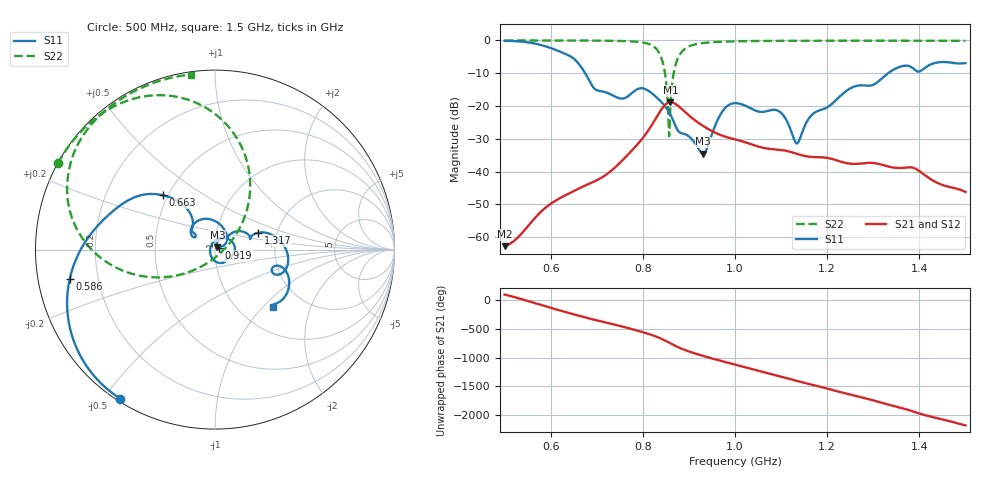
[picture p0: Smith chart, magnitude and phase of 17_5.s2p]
! TOUCHSTONE file generated by CST MICROWAVE STUDIO
! Date and time: Mon Oct 26 12:26:55 2020
! Project name: Scenario_1_Circular_Tissue_out_of_Line.cst
! Parameters = {dy1=-68.544; L_HA=400; MT=2.54; Rad_Dielectric=30; Rad_Lower=7.3; Rad_Upper=30; a_HA=580; a_WG=246; b_HA=500; b_WG=121; c_HA=0; c_WG=187; d_feed=85; dx1=866; h_feed=15; h_lower=18; h_upper=40}
! Header version: 2018
! Port assignment regex: !\s*Touchstone port\s*([0-9]+)\s*=\s*(CST MWS port|CST DS port)\s*([0-9]+|Zmin|Zmax)\s*\(\"(.*)\"\)(\s*mode\s*([0-9]+))?.*
! Touchstone port assignment:
! Touchstone port 1 = CST MWS port 1 ("")
! Touchstone port 2 = CST MWS port 2 ("")
# GHz S DB R 50
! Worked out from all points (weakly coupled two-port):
!   1001 points, 500 MHz to 1.5 GHz, reference 50 ohm
!   highest |S21| = -18.83 dB at 860 MHz (marker M1); lowest = -62.7 dB at 500 MHz (marker M2)
!   lowest |S11| = -34.5 dB at 931 MHz (marker M3), VSWR 1.04, Z = 51.3 + j1.35 ohm
!   |S11| at or under -10 dB: 674.9 MHz to 1.332 GHz (657.2 MHz wide, 65.5 % of centre)
!   |S22| runs from -29.2 to 0.0 dB; largest |S21 - S12| = 2.7e-06
!   S11 on the Smith chart (normalised r, x): 500 MHz: 0.01, -0.55; 586 MHz: 0.10, -0.10; 663 MHz: 0.47, +0.34; 919 MHz: 1.04, +0.02; 1.317 GHz: 1.59, +0.32; 1.5 GHz: 1.42, -1.13
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0.5  -0.14 -122.4  -62.71 99.3  -62.70 99.3  -0.01 151.1
0.586  -1.67 -168.7  -51.30 -98.4  -51.30 -98.4  -0.02 145.2
0.663  -7.52 133.9  -45.01 86.4  -45.01 86.4  -0.04 138.8
0.667  -8.28 130.9  -44.74 77.8  -44.74 77.8  -0.04 138.4
0.7  -15.17 136.5  -42.63 9.6  -42.63 9.6  -0.07 134.8
0.78  -15.59 144.5  -32.97 -150.6  -32.97 -150.6  -0.34 120.3
0.834  -17.91 68.2  -22.38 71.3  -22.38 71.3  -3.48 82.1
0.846  -19.67 51.9  -19.96 26.3  -19.96 26.3  -8.39 59.1
0.855  -21.38 39.2  -18.97 -11.6  -18.97 -11.6  -21.70 21.0
0.86  -22.62 32.6  -18.83 -33.0  -18.83 -33.0  -19.54 -125.4
0.867  -24.78 26.0  -19.07 -61.8  -19.07 -61.8  -9.90 -151.3
0.877  -27.63 28.4  -19.99 -99.5  -19.99 -99.5  -5.16 -169.1
0.919  -32.60 23.4  -24.96 139.4  -24.96 139.4  -1.03 158.1
0.931  -34.53 44.4  -26.08 110.4  -26.08 110.4  -0.79 153.8
0.971  -21.99 52.4  -28.95 21.2  -28.95 21.2  -0.39 144.6
1  -19.10 6.0  -30.16 -40.9  -30.16 -40.9  -0.27 140.2
1.096  -21.64 -65.3  -33.32 117.5  -33.32 117.5  -0.13 130.1
1.134  -31.39 172.0  -34.57 35.4  -34.57 35.4  -0.11 126.8
1.167  -22.66 61.9  -35.52 -29.3  -35.52 -29.3  -0.10 124.2
1.317  -11.77 21.4  -37.83 16.7  -37.83 16.7  -0.09 112.8
1.334  -9.81 15.2  -38.47 -19.6  -38.47 -19.6  -0.09 111.5
1.5  -6.91 -44.7  -46.18 -20.1  -46.18 -20.2  -0.13 97.9
